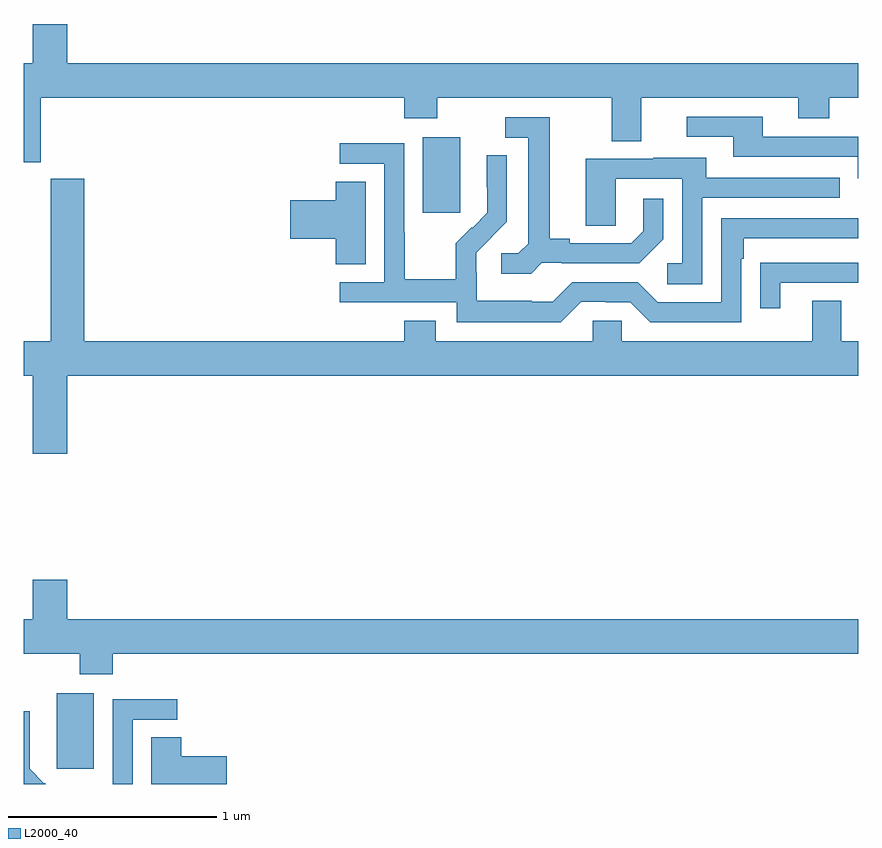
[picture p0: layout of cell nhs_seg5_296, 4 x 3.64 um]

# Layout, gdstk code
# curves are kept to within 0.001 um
import gdstk
lib = gdstk.Library(unit=1e-6, precision=1e-09)
def R(c, l, rs):  # rectangles x0, y0, x1, y1
    for r in rs: c.add(gdstk.rectangle(r[:2], r[2:], *l))
def P(c, l, *ps):  # polygons
    for p in ps: c.add(gdstk.Polygon(p, *l))
L2000_40 = (2000, 40)

nhs_seg5_296 = lib.new_cell('nhs_seg5_296')
R(nhs_seg5_296, L2000_40, [(129.158,858.873,129.337,859.234), (130.913,861.537,131.092,861.898)])
P(nhs_seg5_296, L2000_40, [(129.082,862.088),(130.823,862.088),(130.823,861.989),(130.983,861.989),(130.983,862.088),(131.819,862.088),(131.819,861.88),(131.959,861.88),(131.959,862.088),(132.713,862.088),(132.713,861.989),(132.861,861.989),(132.861,862.088),(133,862.088),(133,862.252),(129.208,862.252),(129.208,862.441),(129.044,862.441),(129.044,862.252),(129,862.252),(129,861.779),(129.082,861.779)],
  [(133,861.9),(132.541,861.9),(132.541,861.996),(132.177,861.996),(132.177,861.9),(132.401,861.9),(132.401,861.804),(132.996,861.804),(132.996,861.701),(133,861.701)],
  [(131.484,861.297),(131.578,861.297),(131.578,861.294),(131.95,861.294),(132.066,861.41),(132.066,861.604),(131.969,861.604),(131.969,861.447),(131.912,861.39),(131.617,861.39),(131.617,861.413),(131.521,861.413),(131.521,861.993),(131.307,861.993),(131.307,861.897),(131.417,861.897),(131.417,861.389),(131.37,861.342),(131.289,861.342),(131.289,861.245),(131.432,861.245)],
  [(131.673,861.111),(131.789,861.111),(131.789,861.108),(131.907,861.108),(132.003,861.012),(132.438,861.012),(132.438,861.317),(132.451,861.317),(132.451,861.414),(133,861.414),(133,861.51),(132.342,861.51),(132.342,861.108),(132.039,861.108),(131.943,861.204),(131.628,861.204),(131.535,861.111),(131.435,861.111),(131.435,861.115),(131.172,861.115),(131.172,861.249),(131.17,861.249),(131.17,861.346),(131.316,861.494),(131.316,861.812),(131.22,861.812),(131.22,861.658),(131.222,861.658),(131.222,861.536),(131.151,861.465),(131.148,861.468),(131.071,861.391),(131.071,861.217),(130.827,861.217),(130.827,861.44),(130.824,861.44),(130.824,861.87),(130.515,861.87),(130.515,861.771),(130.728,861.771),(130.728,861.204),(130.515,861.204),(130.515,861.108),(131.076,861.108),(131.076,861.011),(131.573,861.011)],
  [(132.252,861.609),(132.911,861.609),(132.911,861.705),(132.271,861.705),(132.271,861.799),(132.017,861.799),(132.017,861.795),(131.693,861.795),(131.693,861.475),(131.838,861.475),(131.838,861.699),(132.156,861.699),(132.156,861.294),(132.084,861.294),(132.084,861.193),(132.252,861.193)],
  [(129.208,860.756),(133,860.756),(133,860.92),(132.919,860.92),(132.919,861.115),(132.779,861.115),(132.779,860.92),(131.865,860.92),(131.865,861.018),(131.727,861.018),(131.727,860.92),(130.975,860.92),(130.975,861.019),(130.823,861.019),(130.823,860.92),(129.29,860.92),(129.29,861.7),(129.13,861.7),(129.13,860.92),(129,860.92),(129,860.756),(129.044,860.756),(129.044,860.382),(129.208,860.382)],
  [(130.639,861.686),(130.496,861.686),(130.496,861.596),(130.278,861.596),(130.278,861.413),(130.496,861.413),(130.496,861.289),(130.639,861.289)],
  [(132.625,861.201),(133,861.201),(133,861.297),(132.631,861.297),(132.631,861.296),(132.529,861.296),(132.529,861.078),(132.625,861.078)],
  [(129.428,859.424),(133,859.424),(133,859.588),(129.208,859.588),(129.208,859.777),(129.044,859.777),(129.044,859.588),(129,859.588),(129,859.424),(129.268,859.424),(129.268,859.325),(129.428,859.325)],
  [(129.522,859.107),(129.736,859.107),(129.736,859.206),(129.426,859.206),(129.426,858.799),(129.522,858.799)],
  [(129.102,858.804),(129.099,858.801),(129.029,858.872),(129.029,858.994),(129.03,858.994),(129.03,859.148),(129,859.148),(129,858.799),(129.107,858.799)],
  [(129.973,858.932),(129.755,858.932),(129.755,859.022),(129.611,859.022),(129.611,858.799),(129.973,858.799)])

lib.write_gds('nhs_seg5_296.gds')
